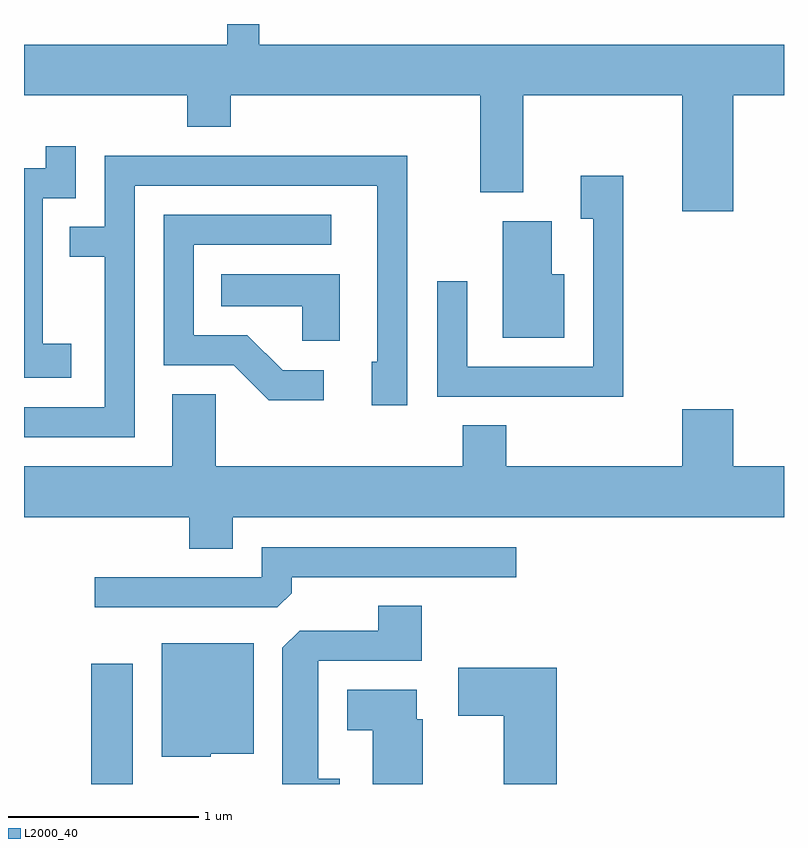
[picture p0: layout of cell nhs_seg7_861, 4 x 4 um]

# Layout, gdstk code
import gdstk
lib = gdstk.Library(unit=1e-6, precision=1e-09)
def R(c, l, rs):  # rectangles x0, y0, x1, y1
    for r in rs: c.add(gdstk.rectangle(r[:2], r[2:], *l))
def P(c, l, *ps):  # polygons
    for p in ps: c.add(gdstk.Polygon(p, *l))
L2000_40 = (2000, 40)

nhs_seg7_861 = lib.new_cell('nhs_seg7_861')
R(nhs_seg7_861, L2000_40, [(211.966,1706.252,212.184,1706.884)])
P(nhs_seg7_861, L2000_40, [(215.344,1709.876),(215.611,1709.876),(215.611,1710.144),(212.849,1710.144),(212.849,1710.252),(212.681,1710.252),(212.681,1710.144),(211.611,1710.144),(211.611,1709.876),(212.471,1709.876),(212.471,1709.711),(212.699,1709.711),(212.699,1709.876),(214.011,1709.876),(214.011,1709.366),(214.239,1709.366),(214.239,1709.876),(215.076,1709.876),(215.076,1709.266),(215.344,1709.266)],
  [(211.859,1708.569),(211.709,1708.569),(211.709,1709.336),(211.884,1709.336),(211.884,1709.608),(211.726,1709.608),(211.726,1709.494),(211.611,1709.494),(211.611,1708.391),(211.859,1708.391)],
  [(212.194,1709.401),(213.471,1709.401),(213.471,1708.474),(213.441,1708.474),(213.441,1708.246),(213.629,1708.246),(213.629,1709.559),(212.036,1709.559),(212.036,1709.184),(211.853,1709.184),(211.853,1709.026),(212.036,1709.026),(212.036,1708.234),(211.611,1708.234),(211.611,1708.076),(212.194,1708.076)],
  [(214.764,1709.454),(214.541,1709.454),(214.541,1709.226),(214.606,1709.226),(214.606,1708.449),(213.944,1708.449),(213.944,1708.898),(213.786,1708.898),(213.786,1708.291),(214.764,1708.291)],
  [(213.188,1708.429),(212.972,1708.429),(212.787,1708.614),(212.504,1708.614),(212.504,1709.091),(213.228,1709.091),(213.228,1709.249),(212.346,1709.249),(212.346,1708.456),(212.714,1708.456),(212.899,1708.271),(213.188,1708.271)],
  [(214.454,1708.934),(214.389,1708.934),(214.389,1709.214),(214.131,1709.214),(214.131,1708.601),(214.454,1708.601)],
  [(213.274,1708.934),(212.648,1708.934),(212.648,1708.766),(213.076,1708.766),(213.076,1708.586),(213.274,1708.586)],
  [(212.709,1707.656),(215.611,1707.656),(215.611,1707.924),(215.344,1707.924),(215.344,1708.224),(215.076,1708.224),(215.076,1707.924),(214.149,1707.924),(214.149,1708.139),(213.921,1708.139),(213.921,1707.924),(212.619,1707.924),(212.619,1708.304),(212.391,1708.304),(212.391,1707.924),(211.611,1707.924),(211.611,1707.656),(212.481,1707.656),(212.481,1707.491),(212.709,1707.491)],
  [(213.019,1707.257),(213.019,1707.341),(214.203,1707.341),(214.203,1707.499),(212.861,1707.499),(212.861,1707.339),(211.983,1707.339),(211.983,1707.181),(212.944,1707.181)],
  [(213.274,1706.279),(213.159,1706.279),(213.159,1706.901),(213.704,1706.901),(213.704,1707.189),(213.476,1707.189),(213.476,1707.059),(213.062,1707.059),(212.971,1706.969),(212.971,1706.252),(213.274,1706.252)],
  [(212.595,1706.411),(212.819,1706.411),(212.819,1706.994),(212.336,1706.994),(212.336,1706.396),(212.595,1706.396)],
  [(214.414,1706.864),(213.896,1706.864),(213.896,1706.611),(214.136,1706.611),(214.136,1706.252),(214.414,1706.252)],
  [(213.709,1706.594),(213.679,1706.594),(213.679,1706.749),(213.311,1706.749),(213.311,1706.536),(213.446,1706.536),(213.446,1706.252),(213.709,1706.252)])

lib.write_gds('nhs_seg7_861.gds')
